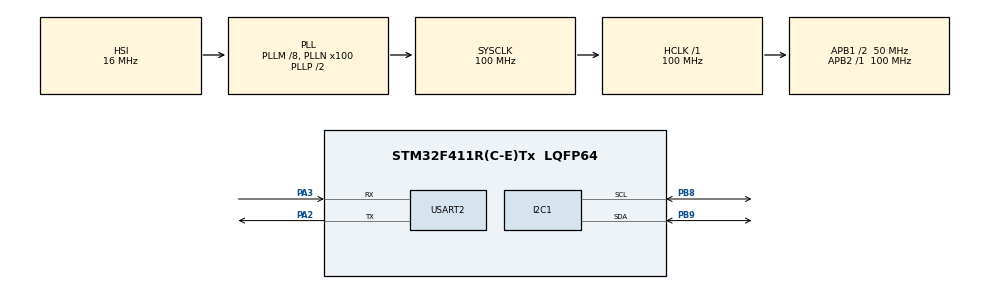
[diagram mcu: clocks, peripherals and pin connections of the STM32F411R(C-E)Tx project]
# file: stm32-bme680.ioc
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Mcu.Family=STM32F4
RCC.CortexFreq_Value=100000000
RCC.APB1CLKDivider=RCC_HCLK_DIV2
RCC.SYSCLKSource=RCC_SYSCLKSOURCE_PLLCLK
ProjectManager.StackSize=0x400
PA3.Mode=Asynchronous
ProjectManager.TargetToolchain=STM32CubeIDE
RCC.HCLKFreq_Value=100000000
PB9.Mode=I2C
RCC.APB2TimFreq_Value=100000000
RCC.AHBFreq_Value=100000000
RCC.HSE_VALUE=8000000
board=NUCLEO-F411RE
RCC.VCOOutputFreq_Value=200000000
RCC.APB2Freq_Value=100000000
Mcu.Name=STM32F411R(C-E)Tx
PA2.Signal=USART2_TX
RCC.FLatency-AdvancedSettings=FLASH_LATENCY_3
RCC.48MHZClocksFreq_Value=50000000
RCC.SYSCLKFreq_VALUE=100000000
PB9.Signal=I2C1_SDA
Mcu.Package=LQFP64
USART2.VirtualMode=VM_ASYNC
ProjectManager.HeapSize=0x200
RCC.HSI_VALUE=16000000
NVIC.PriorityGroup=NVIC_PRIORITYGROUP_0
RCC.PLLM=8
PB8.Mode=I2C
RCC.PLLN=100
RCC.APB1TimFreq_Value=100000000
PB8.Signal=I2C1_SCL
PA2.Mode=Asynchronous
RCC.APB1Freq_Value=50000000
PA3.Signal=USART2_RX

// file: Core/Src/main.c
/* USER CODE BEGIN Header */
/**
 ******************************************************************************
 * @file           : main.c
 * @brief          : Main program body
 ******************************************************************************
 * @attention
 *
 * <h2><center>&copy; Copyright (c) 2021 STMicroelectronics.
 * All rights reserved.</center></h2>
 *
 * This software component is licensed by ST under BSD 3-Clause license,
 * the "License"; You may not use this file except in compliance with the
 * License. You may obtain a copy of the License at:
 *                        opensource.org/licenses/BSD-3-Clause
 *
 ******************************************************************************
 */
/* USER CODE END Header */
#include "main.h"

/* USER CODE BEGIN Includes */
#include <bme680/bme68x_necessary_functions.h>
#include "string.h"
/* USER CODE END Includes */

I2C_HandleTypeDef hi2c1;

UART_HandleTypeDef huart2;

void SystemClock_Config(void);
static void MX_GPIO_Init(void);
static void MX_USART2_UART_Init(void);
static void MX_I2C1_Init(void);

int main(void) {

	/* MCU Configuration--------------------------------------------------------*/

	/* Reset of all peripherals, Initializes the Flash interface and the Systick. */
	HAL_Init();

	/* Configure the system clock */
	SystemClock_Config();

	/* Initialize all configured peripherals */
	MX_GPIO_Init();
	MX_USART2_UART_Init();
	MX_I2C1_Init();
	/* USER CODE BEGIN 2 */

	/* BME680 API forced mode test */
	struct bme68x_data data;
	bme68x_start(&data, &hi2c1);

	/* USER CODE END 2 */

	/* Infinite loop */
	/* USER CODE BEGIN WHILE */
	while (1) {

		if (bme68x_single_measure(&data) == 0) {

			// Measurement is successful, so continue with IAQ
			data.iaq_score = bme68x_iaq(); // Calculate IAQ

			// Create a message buffer and clear it.
			char msgBuffer[120];
			for(uint16_t i = 0; i < 120; i++){
				msgBuffer[i] = ' ';
			}

			// Send the data through UART.
			sprintf(msgBuffer,
					"Temperature(deg C): %.2f, Pressure(Pa): %.2f, Humidity(%%): %.2f, IAQ: %.1f ,Gas resistance(ohm): %.2f\r\n",
					data.temperature, data.pressure, data.humidity,
					data.iaq_score, data.gas_resistance);

			HAL_UART_Transmit(&huart2, (uint8_t *) msgBuffer, sizeof(msgBuffer), 10);

		}

		HAL_Delay(2000);

		/* USER CODE END WHILE */

	}
}

void SystemClock_Config(void) {
	RCC_OscInitTypeDef RCC_OscInitStruct = { 0 };
	RCC_ClkInitTypeDef RCC_ClkInitStruct = { 0 };

	/** Configure the main internal regulator output voltage
	 */
	__HAL_RCC_PWR_CLK_ENABLE();
	__HAL_PWR_VOLTAGESCALING_CONFIG(PWR_REGULATOR_VOLTAGE_SCALE1);
	/** Initializes the RCC Oscillators according to the specified parameters
	 * in the RCC_OscInitTypeDef structure.
	 */
	RCC_OscInitStruct.OscillatorType = RCC_OSCILLATORTYPE_HSI;
	RCC_OscInitStruct.HSIState = RCC_HSI_ON;
	RCC_OscInitStruct.HSICalibrationValue = RCC_HSICALIBRATION_DEFAULT;
	RCC_OscInitStruct.PLL.PLLState = RCC_PLL_ON;
	RCC_OscInitStruct.PLL.PLLSource = RCC_PLLSOURCE_HSI;
	RCC_OscInitStruct.PLL.PLLM = 8;
	RCC_OscInitStruct.PLL.PLLN = 100;
	RCC_OscInitStruct.PLL.PLLP = RCC_PLLP_DIV2;
	RCC_OscInitStruct.PLL.PLLQ = 4;
	if (HAL_RCC_OscConfig(&RCC_OscInitStruct) != HAL_OK) {
		Error_Handler();
	}
	/** Initializes the CPU, AHB and APB buses clocks
	 */
	RCC_ClkInitStruct.ClockType = RCC_CLOCKTYPE_HCLK | RCC_CLOCKTYPE_SYSCLK
			| RCC_CLOCKTYPE_PCLK1 | RCC_CLOCKTYPE_PCLK2;
	RCC_ClkInitStruct.SYSCLKSource = RCC_SYSCLKSOURCE_PLLCLK;
	RCC_ClkInitStruct.AHBCLKDivider = RCC_SYSCLK_DIV1;
	RCC_ClkInitStruct.APB1CLKDivider = RCC_HCLK_DIV2;
	RCC_ClkInitStruct.APB2CLKDivider = RCC_HCLK_DIV1;

	if (HAL_RCC_ClockConfig(&RCC_ClkInitStruct, FLASH_LATENCY_3) != HAL_OK) {
		Error_Handler();
	}
}

static void MX_I2C1_Init(void) {

	hi2c1.Instance = I2C1;
	hi2c1.Init.ClockSpeed = 100000;
	hi2c1.Init.DutyCycle = I2C_DUTYCYCLE_2;
	hi2c1.Init.OwnAddress1 = 0;
	hi2c1.Init.AddressingMode = I2C_ADDRESSINGMODE_7BIT;
	hi2c1.Init.DualAddressMode = I2C_DUALADDRESS_DISABLE;
	hi2c1.Init.OwnAddress2 = 0;
	hi2c1.Init.GeneralCallMode = I2C_GENERALCALL_DISABLE;
	hi2c1.Init.NoStretchMode = I2C_NOSTRETCH_DISABLE;
	if (HAL_I2C_Init(&hi2c1) != HAL_OK) {
		Error_Handler();
	}

}

static void MX_USART2_UART_Init(void) {

	huart2.Instance = USART2;
	huart2.Init.BaudRate = 115200;
	huart2.Init.WordLength = UART_WORDLENGTH_8B;
	huart2.Init.StopBits = UART_STOPBITS_1;
	huart2.Init.Parity = UART_PARITY_NONE;
	huart2.Init.Mode = UART_MODE_TX_RX;
	huart2.Init.HwFlowCtl = UART_HWCONTROL_NONE;
	huart2.Init.OverSampling = UART_OVERSAMPLING_16;
	if (HAL_UART_Init(&huart2) != HAL_OK) {
		Error_Handler();
	}

}

static void MX_GPIO_Init(void) {

	/* GPIO Ports Clock Enable */
	__HAL_RCC_GPIOA_CLK_ENABLE();
	__HAL_RCC_GPIOB_CLK_ENABLE();

}

void Error_Handler(void) {
	__disable_irq();
	while (1) {
	}
}

/************************ (C) COPYRIGHT STMicroelectronics *****END OF FILE****/
